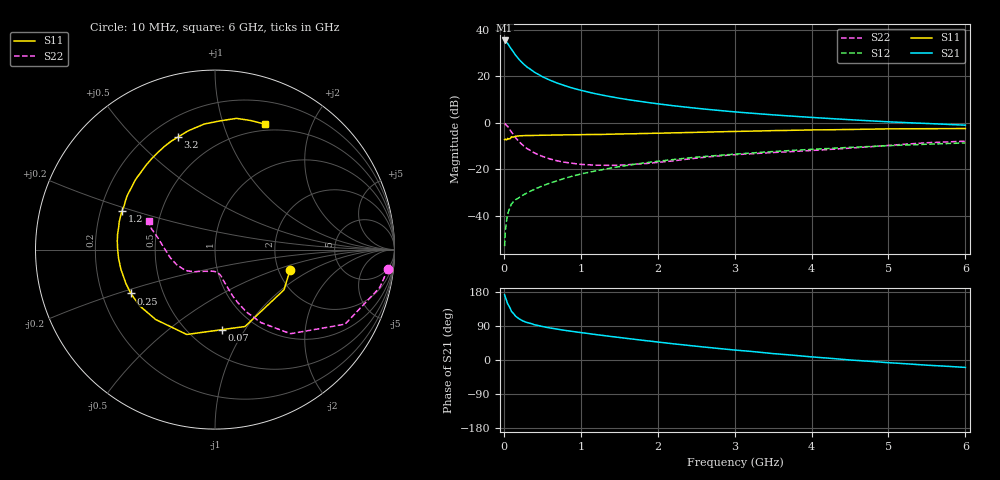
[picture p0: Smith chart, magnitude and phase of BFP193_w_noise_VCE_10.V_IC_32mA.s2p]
! Infineon Technologies  Discrete & RF Semiconductors
! BFP193
! VCE =  10. V,  IC =  32 mA
! Common Emitter S-Parameters:  Jan 2017
# GHz  S  MA  R  50
!  f  S11  S21  S12  S22
! GHz  MAG  ANG  MAG  ANG  MAG  ANG  MAG  ANG
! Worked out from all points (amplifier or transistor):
!   77 points, 10 MHz to 6 GHz, reference 50 ohm
!   highest |S21| = 35.5 dB at 10 MHz (marker M1)
!   |S21| within 3 dB of that: start of sweep to 82.74 MHz
!   unconditionally stable (mu >= 1): 765.4 MHz to 2.433 GHz
!   at 130 MHz: K = 0.47, MSG = 32.0 dB, |S12| = -33.9 dB
!   at 2.2 GHz: K = 1.01, MAG = 10.9 dB, |S12| = -15.8 dB
!   at 6 GHz: K = 0.90, MSG = 3.8 dB, |S12| = -8.7 dB
!   lowest NFmin = 1.24 dB at 450 MHz
!   S11 on the Smith chart (normalised r, x): 10 MHz: 2.32, -0.64; 70 MHz: 0.71, -0.79; 250 MHz: 0.33, -0.22; 1.2 GHz: 0.29, +0.19; 3.2 GHz: 0.31, +0.68; 6 GHz: 0.43, +1.39
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0.01  0.4335 -14.9  59.38 172.3  0.0022 87.1  0.9704 -6.3
0.02  0.445 -30.3  58.58 165.8  0.0047 80.6  0.9419 -13.0
0.05  0.4599 -68.7  51.05 147.9  0.0108 68.2  0.8353 -29.8
0.07  0.4478 -85.2  45.3 141.3  0.0136 63.4  0.7449 -35.9
0.1  0.4984 -108.4  38.23 127.9  0.0179 59.0  0.6304 -48.0
0.15  0.5108 -130.3  28.92 116.0  0.0219 55.4  0.482 -57.7
0.2  0.5242 -143.4  22.95 108.4  0.0245 56.0  0.3889 -63.3
0.25  0.5286 -152.5  18.87 102.8  0.0278 55.5  0.3253 -66.5
0.3  0.531 -159.0  15.96 99.0  0.0308 57.1  0.2796 -69.0
0.4  0.5356 -168.1  12.22 92.9  0.037 60.7  0.2232 -71.6
0.5  0.5398 -175.2  9.851 88.4  0.0436 61.8  0.1891 -73.8
0.7  0.5463 175.2  7.11 81.3  0.0567 64.1  0.1507 -77.1
0.9  0.5507 167.3  5.55 75.2  0.0713 64.6  0.1338 -81.8
1.1  0.558 160.6  4.577 69.8  0.0856 63.6  0.1247 -86.9
1.2  0.5612 157.2  4.201 67.0  0.0924 63.2  0.1223 -90.0
1.6  0.5775 145.3  3.182 57.0  0.1205 59.7  0.1245 -104.2
2.1  0.6008 131.8  2.448 45.2  0.1547 54.5  0.1456 -123.4
3.1  0.6556 110.0  1.668 24.6  0.2169 43.1  0.2097 -149.8
3.2  0.6602 108.2  1.619 22.9  0.2226 42.0  0.2141 -152.1
4.1  0.7045 93.4  1.276 6.7  0.2735 31.9  0.2589 -172.6
5.1  0.7413 79.4  1.032 -8.3  0.3261 20.7  0.3346 166.8
6  0.7523 68.1  0.889 -19.6  0.3683 10.7  0.4017 156.9
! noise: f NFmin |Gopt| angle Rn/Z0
0.45  1.24  0.35  -173  0.08
0.9  1.3  0.39  -171  0.07
1.9  1.92  0.58  -136  0.17
2.4  2.25  0.62  -121  0.38
